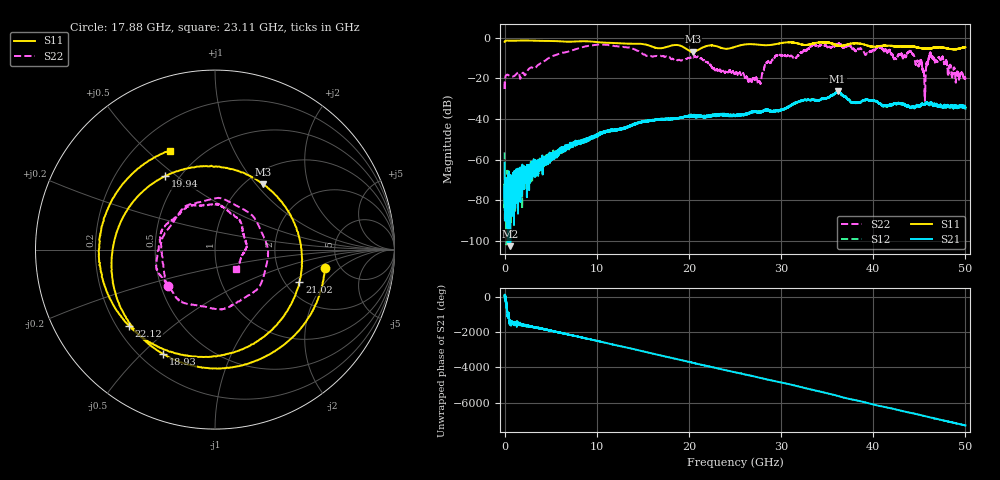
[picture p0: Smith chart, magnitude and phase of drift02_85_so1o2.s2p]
!Created with skrf (http://scikit-rf.org).
# Hz S RI R 50.0
!freq ReS11 ImS11 ReS21 ImS21 ReS12 ImS12 ReS22 ImS22
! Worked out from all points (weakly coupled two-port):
!   10001 points, 300 kHz to 50 GHz, reference 50 ohm
!   highest |S21| = -26.25 dB at 36.13 GHz (marker M1); lowest = -102.7 dB at 615.3 MHz (marker M2)
!   lowest |S11| = -6.9 dB at 20.44 GHz (marker M3), VSWR 2.64, Z = 59.5 + j54.2 ohm
!   |S11| at or under -10 dB: nowhere
!   |S22| runs from -31.1 to -2.6 dB; largest |S21 - S12| = 0.0051
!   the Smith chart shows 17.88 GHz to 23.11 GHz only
!   S11 on the Smith chart (normalised r, x): 17.88 GHz: 3.81, -1.31; 18.93 GHz: 0.29, -0.58; 19.94 GHz: 0.42, +0.45; 21.02 GHz: 2.38, -1.16; 22.12 GHz: 0.25, -0.36; 23.11 GHz: 0.34, +0.59
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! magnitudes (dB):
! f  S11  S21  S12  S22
! 300 kHz  -2.1  -61.5  -56.4  -21.7
! 255.3 MHz  -1.4  -70.6  -77.6  -18.2
! 615.3 MHz  -1.5  -102.7  -81.4  -18.9
! 8.335 GHz  -1.7  -51.0  -50.7  -4.7
! 16.67 GHz  -5.2  -40.4  -40.3  -9.0
! 17.88 GHz  -4.1  -40.3  -39.9  -9.6
! 18.93 GHz  -3.7  -39.7  -39.5  -10.8
! 19.94 GHz  -6.1  -38.7  -38.6  -9.8
! 20.44 GHz  -6.9  -38.7  -38.3  -9.8
! 21.02 GHz  -6.0  -38.7  -38.7  -9.4
! 22.12 GHz  -3.9  -38.7  -38.7  -12.7
! 23.11 GHz  -4.3  -37.9  -37.7  -16.0
! 25 GHz  -4.5  -38.0  -38.3  -17.7
! 27.63 GHz  -3.5  -36.6  -36.5  -21.3
! 29.54 GHz  -3.0  -36.0  -35.9  -8.8
! 33.34 GHz  -3.0  -30.5  -30.6  -3.8
! 36.13 GHz  -3.9  -26.2  -26.8  -3.2
! 41.67 GHz  -3.9  -33.4  -33.4  -6.1
! 44.15 GHz  -4.2  -34.2  -34.2  -7.1
! 45.51 GHz  -5.3  -32.9  -33.1  -18.1
! 46.28 GHz  -5.2  -32.0  -32.1  -8.4
! 50 GHz  -4.6  -34.9  -34.0  -20.1
